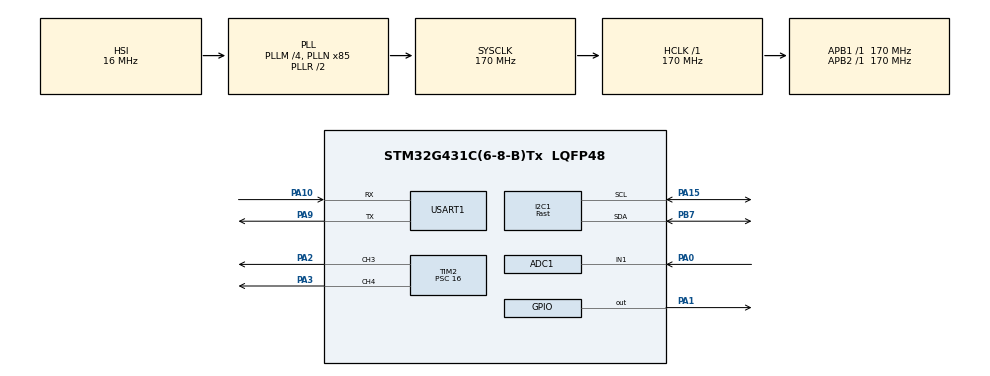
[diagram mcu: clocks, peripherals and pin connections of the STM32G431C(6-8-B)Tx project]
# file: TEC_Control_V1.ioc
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ADC1.Channel-0\#ChannelRegularConversion=ADC_CHANNEL_1
ADC1.NbrOfConversionFlag=1
ADC1.OffsetNumber-0\#ChannelRegularConversion=ADC_OFFSET_NONE
ADC1.OversamplingMode=ENABLE
ADC1.Rank-0\#ChannelRegularConversion=1
ADC1.Ratio=ADC_OVERSAMPLING_RATIO_256
ADC1.RightBitShift=ADC_RIGHTBITSHIFT_4
ADC1.SamplingTime-0\#ChannelRegularConversion=ADC_SAMPLETIME_2CYCLES_5
ADC1.master=1
I2C1.I2C_Speed_Mode=I2C_Fast
I2C1.Timing=0x40621236
Mcu.Family=STM32G4
Mcu.Name=STM32G431C(6-8-B)Tx
Mcu.Package=LQFP48
NVIC.PriorityGroup=NVIC_PRIORITYGROUP_4
PA0.Mode=IN1-Single-Ended
PA0.Signal=ADC1_IN1
PA1.Signal=GPIO_Output
PA10.Mode=Asynchronous
PA10.Signal=USART1_RX
PA13.Mode=Serial_Wire
PA13.Signal=SYS_JTMS-SWDIO
PA14.Mode=Serial_Wire
PA14.Signal=SYS_JTCK-SWCLK
PA15.Mode=I2C
PA15.Signal=I2C1_SCL
PA2.Signal=S_TIM2_CH3
PA3.Signal=S_TIM2_CH4
PA9.Mode=Asynchronous
PA9.Signal=USART1_TX
PB7.Mode=I2C
PB7.Signal=I2C1_SDA
PF0-OSC_IN.Mode=HSE-External-Oscillator
PF0-OSC_IN.Signal=RCC_OSC_IN
PF1-OSC_OUT.Mode=HSE-External-Oscillator
PF1-OSC_OUT.Signal=RCC_OSC_OUT
ProjectManager.HeapSize=0x200
ProjectManager.StackSize=0x400
ProjectManager.TargetToolchain=MDK-ARM V5.32
RCC.ADC12Freq_Value=170000000
RCC.AHBFreq_Value=170000000
RCC.APB1Freq_Value=170000000
RCC.APB1TimFreq_Value=170000000
RCC.APB2Freq_Value=170000000
RCC.APB2TimFreq_Value=170000000
RCC.CortexFreq_Value=170000000
RCC.EXTERNAL_CLOCK_VALUE=12288000
RCC.HCLKFreq_Value=170000000
RCC.HSE_VALUE=8000000
RCC.HSI48_VALUE=48000000
RCC.HSI_VALUE=16000000
RCC.LSE_VALUE=32768
RCC.PLLM=RCC_PLLM_DIV4
RCC.PLLN=85
RCC.SYSCLKFreq_VALUE=170000000
RCC.SYSCLKSource=RCC_SYSCLKSOURCE_PLLCLK
RCC.USBFreq_Value=170000000
RCC.VCOOutputFreq_Value=340000000
SH.S_TIM2_CH3.0=TIM2_CH3,PWM Generation3 CH3
SH.S_TIM2_CH4.0=TIM2_CH4,PWM Generation4 CH4
TIM2.Channel-PWM\ Generation3\ CH3=TIM_CHANNEL_3
TIM2.Channel-PWM\ Generation4\ CH4=TIM_CHANNEL_4
TIM2.PeriodNoDither=499
TIM2.Prescaler=16
USART1.VirtualMode-Asynchronous=VM_ASYNC
VP_SYS_VS_DBSignals.Mode=DisableDeadBatterySignals
VP_TIM2_VS_ClockSourceINT.Mode=Internal
board=custom

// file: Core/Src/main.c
/* USER CODE BEGIN Header */
/**
  ******************************************************************************
  * @file           : main.c
  * @brief          : Main program body
  ******************************************************************************
  * @attention
  *
  * Copyright (c) 2026 STMicroelectronics.
  * All rights reserved.
  *
  * This software is licensed under terms that can be found in the LICENSE file
  * in the root directory of this software component.
  * If no LICENSE file comes with this software, it is provided AS-IS.
  *
  ******************************************************************************
  */
/* USER CODE END Header */
#include "main.h"
#include "adc.h"
#include "i2c.h"
#include "tim.h"
#include "usart.h"
#include "gpio.h"
#include "oled.h"

/* USER CODE BEGIN Includes */
#include <math.h>
#include <stdio.h>
extern float logf(float);  // 强制向编译器声明：不要管头文件里有没有，这个 FPU 单精度对数函数客观存在！
/* USER CODE END Includes */

/* USER CODE BEGIN PTD */
// ADC 原始数据和计算后的温度值
uint32_t adc_raw_value = 0;
float current_temperature = 0.0f;

// NTC 热敏电阻的关键参数 (MF58, 10k, B=3950)
// 注意：这些参数必须定义为 float，以充分利用 ARM 的 FPU 加速计算
const float R_REF = 10000.0f;       // 分压电阻 10kΩ
const float T0 = 298.15f;           // 标准温度 25℃ 的开尔文温度 (273.15 + 25)
const float R0 = 10000.0f;          // 标准温度 25℃ 时的 NTC 阻值 10kΩ
const float B_VALUE = 3950.0f;      // NTC 的 B 值

// PID 运算相关的临时变量
float target_temperature = 35.0f; // 你的目标控制温度
float pwm_output = 0.0f;          // 计算出的 PWM 占空比输出值
/* USER CODE END PTD */

/* USER CODE BEGIN PV */
char display_buf[20]; // 用于存放转换后的温度字符串
extern I2C_HandleTypeDef hi2c1;
/* USER CODE END PV */

void SystemClock_Config(void);

/* USER CODE BEGIN 0 */

// ==========================================
// 1. 定义 PID 控制器结构体
// ==========================================
typedef struct {
    float Kp;           // 比例系数 (Proportional)
    float Ki;           // 积分系数 (Integral)
    float Kd;           // 微分系数 (Derivative)

    float target;       // 目标温度
    float actual;       // 实际温度
    float error;        // 当前偏差
    float error_last;   // 上一次的偏差
    float integral;     // 偏差积分值

    float output;       // PID 算出的输出控制量 (-499 到 +499)
} PID_TypeDef;

// 实例化一个 TEC 制冷片的 PID 控制器
PID_TypeDef tec_pid;

// ==========================================
// 2. 专门为 ARM FPU 编写的浮点 PID 计算函数
// ==========================================
float PID_Calc(PID_TypeDef *pid, float current_temp, float target_temp) {
    pid->actual = current_temp;
    pid->target = target_temp;

    // 计算当前偏差 (目标值 - 实际值)
    pid->error = pid->target - pid->actual;

    // 积分累加 (带积分限幅 Anti-Windup，防止温度偏差过大时积分饱和)
    pid->integral += pid->error;
    if (pid->integral > 2000.0f) pid->integral = 2000.0f;
    else if (pid->integral < -2000.0f) pid->integral = -2000.0f;

    // 位置式 PID 核心运算公式 (充分利用 ARM FPU 的乘加指令)
    pid->output = (pid->Kp * pid->error) +
                  (pid->Ki * pid->integral) +
                  (pid->Kd * (pid->error - pid->error_last));

    // 记录本次偏差，留给下次算微分用
    pid->error_last = pid->error;

    // 输出限幅 (因为我们之前设置的 PWM ARR 最大值是 499)
    if (pid->output > 499.0f) pid->output = 499.0f;
    else if (pid->output < -499.0f) pid->output = -499.0f;

    return pid->output;
}

/**
 * @brief  将 ADC 原始值转换为摄氏温度 (利用 ARM FPU 硬件加速)
 * @param  adc_val: 16位过采样后的 ADC 原始值
 * @retval 计算出的摄氏温度 (float)
 */
float Calculate_Temperature(uint32_t adc_val) {
    // 1. 防止 ADC 读数为 0 导致除零错误或无穷大
    if (adc_val == 0 || adc_val >= 65535) {
        return -99.0f; // 返回一个错误温度值
    }

    // 2. 计算当前 NTC 的阻值 Rt
    // 因为你开启了 16 位过采样，满量程是 65535。
    // 分压公式：V_ntc = (3.3V * Rt) / (R_ref + Rt) -> 转换为 ADC 值计算
    // Rt = (R_ref * adc_val) / (65535.0f - adc_val)
    float Rt = (R_REF * (float)adc_val) / (65535.0f - (float)adc_val);

    // 3. 使用 B 值公式计算开尔文温度 (Steinhart-Hart 简化方程)
    // 公式: T = 1 / ( (1/T0) + (1/B) * ln(Rt/R0) )
    // 注意：一定要用 logf() 单精度版本，不要用 log() 双精度版本，以发挥 FPU 最大性能！
    float T_Kelvin = 1.0f / ( (1.0f / T0) + (1.0f / B_VALUE) * logf(Rt / R0) );

    // 4. 将开尔文温度转换为摄氏温度
    float T_Celsius = T_Kelvin - 273.15f;

    return T_Celsius;
}
/* USER CODE END 0 */

int main(void)
{

  /* MCU Configuration--------------------------------------------------------*/

  /* Reset of all peripherals, Initializes the Flash interface and the Systick. */
  HAL_Init();

  /* Configure the system clock */
  SystemClock_Config();

  /* Initialize all configured peripherals */
  MX_GPIO_Init();
  MX_ADC1_Init();
  MX_TIM2_Init();
  MX_I2C1_Init();
  MX_USART1_UART_Init();

  /* USER CODE BEGIN 2 */
  // 启动 ADC 硬件自校准（极大降低零点漂移误差） - 绝对保留
  HAL_ADCEx_Calibration_Start(&hadc1, ADC_SINGLE_ENDED);

  // 启动 TIM2 的通道 3 (PA2) 和 通道 4 (PA3) 的 PWM 输出
  HAL_TIM_PWM_Start(&htim2, TIM_CHANNEL_3);
  HAL_TIM_PWM_Start(&htim2, TIM_CHANNEL_4);

  // 初始化 OLED
  OLED_Init();
  OLED_Clear();
  OLED_ShowString(0, 0, "TEC Control System", 12); // 显示标题
  OLED_ShowString(0, 2, "Target: 35.0 C", 12);     // 显示老师给的目标值

  // ==========================================
  // 初始化 PID 参数 (经验初始值)
  // ==========================================
  tec_pid.Kp = 150.0f;  // 比例参数：决定响应速度
  tec_pid.Ki = 1.5f;    // 积分参数：消除静态误差
  tec_pid.Kd = 20.0f;   // 微分参数：抑制超调震荡
  tec_pid.integral = 0.0f;
  tec_pid.error_last = 0.0f;
  /* USER CODE END 2 */

  /* Infinite loop */
  /* USER CODE BEGIN WHILE */
  while (1)
  {
    // 1. 触发一次 ADC 转换
    HAL_ADC_Start(&hadc1);

    // 2. 等待转换完成 (带超时机制)
    if (HAL_ADC_PollForConversion(&hadc1, 10) == HAL_OK) {

        // 3. 读取 16 位过采样后的真实数据
        adc_raw_value = HAL_ADC_GetValue(&hadc1);

        // 4. 利用 ARM FPU 解算温度
        current_temperature = Calculate_Temperature(adc_raw_value);
    }

    // 5. 停止 ADC (为下一次触发做准备)
    HAL_ADC_Stop(&hadc1);

    // 稍微延时一下，控制控制周期，方便屏幕刷新和算法稳定
    HAL_Delay(100);

  /* USER CODE END WHILE */

  /* USER CODE BEGIN 3 */
    // ==========================================
    // PID 闭环核心控制逻辑
    // ==========================================

    // 1. 调用 ARM 优化过的计算引擎，算出当前需要的控制力道
    float pid_out = PID_Calc(&tec_pid, current_temperature, target_temperature);

    // 2. 判别方向，驱动 DRV8833 H 桥芯片
    if (pid_out > 0) {
        // PID 输出正数，说明当前温度低于 35 度，需要【加热】
        // IN1 (PA2) 给 PWM，IN2 (PA3) 给低电平 0
        __HAL_TIM_SET_COMPARE(&htim2, TIM_CHANNEL_3, (uint32_t)pid_out);
        __HAL_TIM_SET_COMPARE(&htim2, TIM_CHANNEL_4, 0);
    } else {
        // PID 输出负数，说明当前温度高于 35 度，需要【制冷】
        // IN1 (PA2) 给低电平 0，IN2 (PA3) 给 PWM (注意要把负数翻转成正数)
        __HAL_TIM_SET_COMPARE(&htim2, TIM_CHANNEL_3, 0);
        __HAL_TIM_SET_COMPARE(&htim2, TIM_CHANNEL_4, (uint32_t)(-pid_out));
    }

    // ==========================================
    // 屏幕显示刷新
    // ==========================================
    // 将浮点数转换为字符串，保留一位小数
    sprintf(display_buf, "Temp: %.1f C  ", current_temperature);

    // 在屏幕第 4 行显示当前实际温度
    OLED_ShowString(0, 4, display_buf, 16);
  }

  /* USER CODE END 3 */
}

void SystemClock_Config(void)
{
  RCC_OscInitTypeDef RCC_OscInitStruct = {0};
  RCC_ClkInitTypeDef RCC_ClkInitStruct = {0};

  /** Configure the main internal regulator output voltage
  */
  HAL_PWREx_ControlVoltageScaling(PWR_REGULATOR_VOLTAGE_SCALE1_BOOST);

  /** Initializes the RCC Oscillators according to the specified parameters
  * in the RCC_OscInitTypeDef structure.
  */
  RCC_OscInitStruct.OscillatorType = RCC_OSCILLATORTYPE_HSI;
  RCC_OscInitStruct.HSIState = RCC_HSI_ON;
  RCC_OscInitStruct.HSICalibrationValue = RCC_HSICALIBRATION_DEFAULT;
  RCC_OscInitStruct.PLL.PLLState = RCC_PLL_ON;
  RCC_OscInitStruct.PLL.PLLSource = RCC_PLLSOURCE_HSI;
  RCC_OscInitStruct.PLL.PLLM = RCC_PLLM_DIV4;
  RCC_OscInitStruct.PLL.PLLN = 85;
  RCC_OscInitStruct.PLL.PLLP = RCC_PLLP_DIV2;
  RCC_OscInitStruct.PLL.PLLQ = RCC_PLLQ_DIV2;
  RCC_OscInitStruct.PLL.PLLR = RCC_PLLR_DIV2;
  if (HAL_RCC_OscConfig(&RCC_OscInitStruct) != HAL_OK)
  {
    Error_Handler();
  }

  /** Initializes the CPU, AHB and APB buses clocks
  */
  RCC_ClkInitStruct.ClockType = RCC_CLOCKTYPE_HCLK|RCC_CLOCKTYPE_SYSCLK
                              |RCC_CLOCKTYPE_PCLK1|RCC_CLOCKTYPE_PCLK2;
  RCC_ClkInitStruct.SYSCLKSource = RCC_SYSCLKSOURCE_PLLCLK;
  RCC_ClkInitStruct.AHBCLKDivider = RCC_SYSCLK_DIV1;
  RCC_ClkInitStruct.APB1CLKDivider = RCC_HCLK_DIV1;
  RCC_ClkInitStruct.APB2CLKDivider = RCC_HCLK_DIV1;

  if (HAL_RCC_ClockConfig(&RCC_ClkInitStruct, FLASH_LATENCY_4) != HAL_OK)
  {
    Error_Handler();
  }
}

void Error_Handler(void)
{
  __disable_irq();
  while (1)
  {
  }
}
